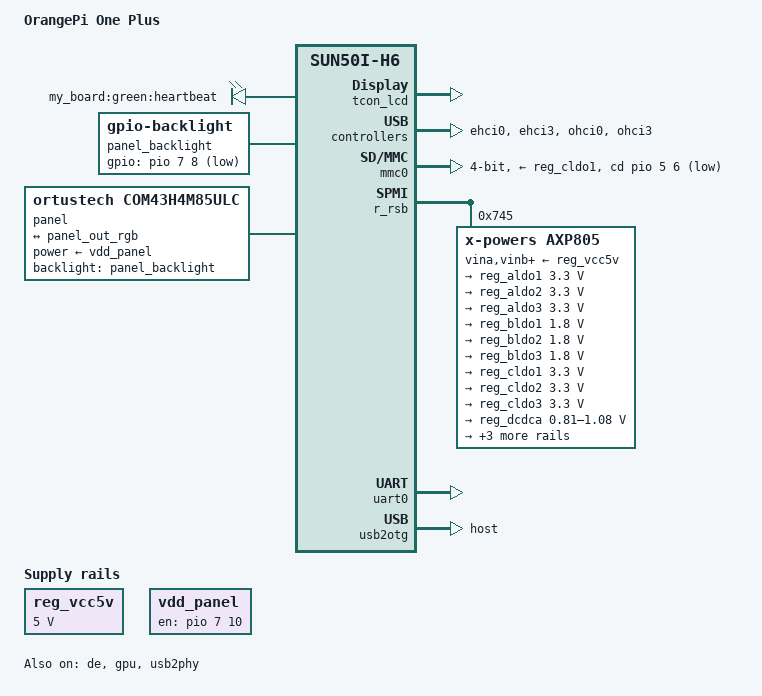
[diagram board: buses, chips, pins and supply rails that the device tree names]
// SPDX-License-Identifier: (GPL-2.0+ OR MIT)
// Copyright (C) 2018 Amarula Solutions
// Author: Jagan Teki <jagan@amarulasolutions.com>

/dts-v1/;

#include "sun50i-h6_custom.dtsi"

#include <dt-bindings/gpio/gpio.h>

/ {
	model = "OrangePi One Plus";
	compatible = "xunlong,orangepi-one-plus", "allwinner,sun50i-h6";

	aliases {
		serial0 = &uart0;
                //display0 = &panel;
	};

	chosen {
		stdout-path = "serial0:115200n8";


	};

	leds {
		compatible = "gpio-leds";

		heartbeat {
			label = "my_board:green:heartbeat";
			/* gpios = <&r_pio 0 2 GPIO_ACTIVE_LOW>;  PL2 */
		};

	};

	reg_vcc5v: vcc5v {
		/* board wide 5V supply directly from the DC jack */
		compatible = "regulator-fixed";
		regulator-name = "vcc-5v";
		regulator-min-microvolt = <5000000>;
		regulator-max-microvolt = <5000000>;
		regulator-always-on;
	};
/*
	framebuffer0: framebuffer@1d385000 {
		    #address-cells = <1>;
                    #size-cells = <1>;
                    stdout-path = "display0";
                    compatible = "allwinner,simple-framebuffer", "simple-framebuffer";
	            allwinner,pipeline = "mixer0-lcd0";
        	    reg = <0x1d385000 1440000>;
        	    width = <800>;
        	    height = <600>;
        	    stride = <1600>;
        	    format = "r5g6b5";
        	    clocks = <&ccu CLK_BUS_TCON_TOP>,
                                  <&ccu CLK_TCON_LCD0>,
                                 <&display_clocks CLK_MIXER0>;
        	    lcd-supply = <&vdd_panel>;
        	    display = <&panel>;
	            status = "okay";
    	};
*/
        vdd_panel: vdd-panel {
                compatible = "regulator-fixed";
                regulator-name = "vcc-lcd";
                gpio = <&pio 7 10 GPIO_ACTIVE_HIGH>; /* PH10 */
                enable-active-high;
        };

        panel_backlight: panel-backlight {
	        compatible = "gpio-backlight";
	        gpios = <&pio 7 8 GPIO_ACTIVE_LOW>; /* PH8 */
                enable-active-low;
	        status = "okay";
        };

        panel: panel {
                compatible = "ortustech,com43h4m85ulc";//"innolux,ej080na05";
                power-supply = <&vdd_panel>;
		backlight = <&panel_backlight>;
        	/* enable-gpios = <&r_pio 0 2 GPIO_ACTIVE_LOW>;  PH8 VGH */

                port {
                    panel_in_rgb: endpoint {
                    remote-endpoint = <&panel_out_rgb>;
                };
            };
        };
};

&de {
	status = "okay";
};

&tcon_lcd {
        pinctrl-names = "default";
        pinctrl-0 = <&lcd_rgb666_pins>;
        status = "okay";
};

&tcon_lcd_out {
        panel_out_rgb: endpoint@0 {
                reg = <0>;
                remote-endpoint = <&panel_in_rgb>;
                allwinner,tcon-channel = <0>;
        };
};

&ehci0 {
	status = "okay";
};

&ehci3 {
	status = "okay";
};

&gpu {
	mali-supply = <&reg_dcdcc>;
	status = "okay";
};

&mmc0 {
	vmmc-supply = <&reg_cldo1>;
	cd-gpios = <&pio 5 6 GPIO_ACTIVE_LOW>;
	bus-width = <4>;
	status = "okay";
};

&ohci0 {
	status = "okay";
};

&ohci3 {
	status = "okay";
};

&pio {
	vcc-pc-supply = <&reg_bldo2>;
	vcc-pd-supply = <&reg_cldo1>;
	vcc-pg-supply = <&reg_aldo1>;
        vcc-ph-supply = <&reg_cldo1>;
};

&r_pio {
	vcc-pm-supply = <&reg_bldo3>;
};

&r_rsb {
	status = "okay";

	axp805: pmic@745 {
		compatible = "x-powers,axp805", "x-powers,axp806";
		reg = <0x745>;
		interrupt-parent = <&r_intc>;
		interrupts = <GIC_SPI 96 IRQ_TYPE_LEVEL_LOW>;
		interrupt-controller;
		#interrupt-cells = <1>;
		x-powers,self-working-mode;
		vina-supply = <&reg_vcc5v>;
		vinb-supply = <&reg_vcc5v>;
		vinc-supply = <&reg_vcc5v>;
		vind-supply = <&reg_vcc5v>;
		vine-supply = <&reg_vcc5v>;
		aldoin-supply = <&reg_vcc5v>;
		bldoin-supply = <&reg_vcc5v>;
		cldoin-supply = <&reg_vcc5v>;

		regulators {
			reg_aldo1: aldo1 {
				regulator-always-on;
				regulator-min-microvolt = <3300000>;
				regulator-max-microvolt = <3300000>;
				regulator-name = "vcc-pl";
			};

			reg_aldo2: aldo2 {
				regulator-min-microvolt = <3300000>;
				regulator-max-microvolt = <3300000>;
				regulator-name = "vcc-ac200";
			};

			reg_aldo3: aldo3 {
				regulator-always-on;
				regulator-min-microvolt = <3300000>;
				regulator-max-microvolt = <3300000>;
				regulator-name = "vcc25-dram";
			};

			reg_bldo1: bldo1 {
				regulator-always-on;
				regulator-min-microvolt = <1800000>;
				regulator-max-microvolt = <1800000>;
				regulator-name = "vcc-bias-pll";
			};

			reg_bldo2: bldo2 {
				regulator-always-on;
				regulator-min-microvolt = <1800000>;
				regulator-max-microvolt = <1800000>;
				regulator-name = "vcc-efuse-pcie-hdmi-io";
			};

			reg_bldo3: bldo3 {
				regulator-always-on;
				regulator-min-microvolt = <1800000>;
				regulator-max-microvolt = <1800000>;
				regulator-name = "vcc-dcxoio";
			};

			bldo4 {
				/* unused */
			};

			reg_cldo1: cldo1 {
				regulator-always-on;
				regulator-min-microvolt = <3300000>;
				regulator-max-microvolt = <3300000>;
				regulator-name = "vcc-3v3";
			};

			reg_cldo2: cldo2 {
				regulator-min-microvolt = <3300000>;
				regulator-max-microvolt = <3300000>;
				regulator-name = "vcc-wifi-1";
			};

			reg_cldo3: cldo3 {
				regulator-min-microvolt = <3300000>;
				regulator-max-microvolt = <3300000>;
				regulator-name = "vcc-wifi-2";
			};

			reg_dcdca: dcdca {
				regulator-always-on;
				regulator-min-microvolt = <810000>;
				regulator-max-microvolt = <1080000>;
				regulator-name = "vdd-cpu";
			};

			reg_dcdcc: dcdcc {
				regulator-enable-ramp-delay = <32000>;
				regulator-min-microvolt = <810000>;
				regulator-max-microvolt = <1080000>;
				regulator-name = "vdd-gpu";
			};

			reg_dcdcd: dcdcd {
				regulator-always-on;
				regulator-min-microvolt = <960000>;
				regulator-max-microvolt = <960000>;
				regulator-name = "vdd-sys";
			};

			reg_dcdce: dcdce {
				regulator-always-on;
				regulator-min-microvolt = <1200000>;
				regulator-max-microvolt = <1200000>;
				regulator-name = "vcc-dram";
			};

			sw {
				/* unused */
			};
		};
	};
};


&uart0 {
	pinctrl-names = "default";
	pinctrl-0 = <&uart0_ph_pins>;
	status = "okay";
};

&usb2otg {
	/*
	 * OrangePi Lite 2 and One Plus, where this DT is used, don't
	 * have a controllable VBUS even though they do have an ID pin.
	 * Using it as anything but a USB host is unsafe.
	 */
	dr_mode = "host";
	status = "okay";
};

&usb2phy {
	usb0_vbus-supply = <&reg_vcc5v>;
	usb3_vbus-supply = <&reg_vcc5v>;
	status = "okay";
};
